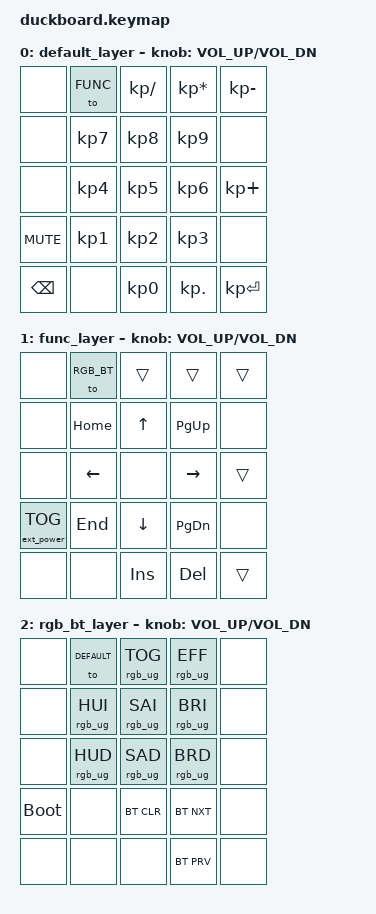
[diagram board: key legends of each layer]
/* Copyright (c) 2020 The ZMK Contributors
 * SPDX-License-Identifier: MIT
 *
 * Author: Jack Hartstein
 */

#include <behaviors.dtsi>
#include <dt-bindings/zmk/keys.h>
#include <dt-bindings/zmk/rgb.h>
#include <dt-bindings/zmk/bt.h>
#include <dt-bindings/zmk/ext_power.h>
#include <dt-bindings/zmk/outputs.h>

#define DEFAULT 0
#define FUNC 1
#define RGB_BT 2

/ {
	keymap {
		compatible = "zmk,keymap";
		
		default_layer {
			bindings = <
				&none		&to FUNC	&kp KP_SLASH	&kp KP_ASTERISK	&kp KP_MINUS
				&none		&kp KP_NUMBER_7 &kp KP_NUMBER_8 &kp KP_NUMBER_9 &none
				&none		&kp KP_NUMBER_4 &kp KP_NUMBER_5 &kp KP_NUMBER_6 &kp KP_PLUS
				&kp K_MUTE	&kp KP_NUMBER_1 &kp KP_NUMBER_2 &kp KP_NUMBER_3 &none
				&kp BACKSPACE	&none 		&kp KP_NUMBER_0 &kp KP_DOT      &kp KP_ENTER
			>;

			sensor-bindings = <&inc_dec_kp C_VOL_UP C_VOL_DN>;
		};

		 func_layer {
			 bindings = <
				&none			&to RGB_BT	&trans     	&trans 		&trans
				&none			&kp HOME    	&kp UP    	&kp PG_UP    	&none
				&none			&kp LEFT    	&none      	&kp RIGHT      	&trans
				&ext_power EP_TOG	&kp END    	&kp DOWN    	&kp PG_DN    	&none
				&none			&none	 	&kp INS         &kp DEL		&trans
			 >;

			sensor-bindings = <&inc_dec_kp C_VOL_UP C_VOL_DN>;
		 };

		 rgb_bt_layer {
                         bindings = <
                                &none          	&to DEFAULT    	&rgb_ug RGB_TOG &rgb_ug RGB_EFF	&none
                                &none  	   	&rgb_ug RGB_HUI &rgb_ug RGB_SAI &rgb_ug RGB_BRI &none
                             	&none	        &rgb_ug RGB_HUD &rgb_ug RGB_SAD &rgb_ug RGB_BRD &none
                                &bootloader    	&none		&bt BT_CLR 	&bt BT_NXT      &none
                                &none		&none           &none    	&bt BT_PRV      &none
                         >;
			sensor-bindings = <&inc_dec_kp C_VOL_UP C_VOL_DN>;
                 };
	};
};
